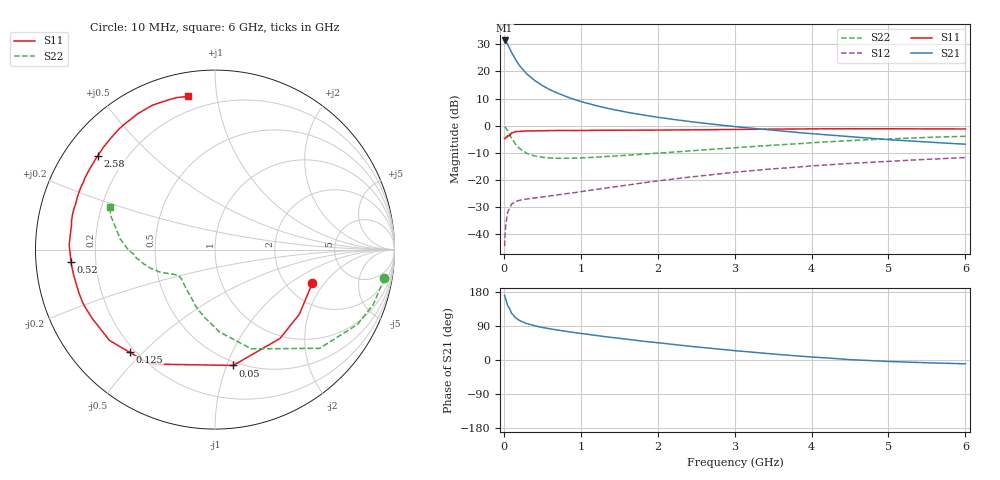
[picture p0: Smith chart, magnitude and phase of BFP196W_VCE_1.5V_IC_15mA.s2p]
! Infineon Technologies  Discrete & RF Semiconductors
! BFP196W
! VCE = 1.5 V,  IC =  15mA
! Common Emitter S-Parameters:  Jan 2016
# GHz  S  MA  R  50
!  f  S11  S21  S12  S22
! GHz  MAG  ANG  MAG  ANG  MAG  ANG  MAG  ANG
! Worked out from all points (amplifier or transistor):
!   210 points, 10 MHz to 6 GHz, reference 50 ohm
!   highest |S21| = 31.5 dB at 10 MHz (marker M1)
!   |S21| within 3 dB of that: start of sweep to 76.3 MHz
!   unconditionally stable (mu >= 1): 949.6 MHz to 3.346 GHz
!   at 185 MHz: K = 0.28, MSG = 25.4 dB, |S12| = -27.8 dB
!   at 1.52 GHz: K = 1.15, MAG = 11.5 dB, |S12| = -22.3 dB
!   at 6 GHz: K = 0.97, MSG = 2.5 dB, |S12| = -11.8 dB
!   S11 on the Smith chart (normalised r, x): 10 MHz: 2.76, -1.53; 50 MHz: 0.47, -1.05; 125 MHz: 0.18, -0.46; 520 MHz: 0.11, -0.04; 2.58 GHz: 0.10, +0.35; 6 GHz: 0.12, +0.83
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0.01  0.5741 -18.9  37.44 170.5  0.0059 80.1  0.957 -9.6
0.02  0.592 -37.5  37.19 163.9  0.012 76.4  0.9338 -19.0
0.03  0.6135 -53.8  35.73 156.7  0.0167 69.5  0.8967 -27.7
0.05  0.6534 -81.1  31.79 143.6  0.0251 57.0  0.8011 -43.4
0.1  0.734 -119.7  22.54 123.2  0.0351 40.0  0.588 -70.0
0.125  0.7439 -129.7  19.53 118.2  0.0372 36.1  0.5175 -77.4
0.15  0.7755 -139.2  16.72 111.5  0.0395 32.6  0.4584 -87.0
0.2  0.7834 -150.2  13.01 104.6  0.0414 29.1  0.3814 -98.8
0.24  0.7911 -155.8  11.14 100.8  0.0427 27.8  0.3473 -105.7
0.3  0.7956 -162.3  8.94 96.0  0.044 27.4  0.3052 -114.5
0.4  0.7999 -169.5  6.81 90.3  0.0459 28.0  0.2751 -124.5
0.52  0.8051 -175.2  5.313 85.2  0.0483 30.2  0.2577 -132.3
0.6  0.8068 -178.4  4.587 82.1  0.05 31.8  0.2518 -136.2
0.7  0.813 178.2  3.972 78.9  0.0524 34.0  0.2476 -139.4
1.02  0.8112 170.3  2.734 69.7  0.0604 40.0  0.2533 -145.8
1.4  0.8168 162.4  2.007 59.5  0.0727 44.9  0.2709 -149.6
2.02  0.8275 151.0  1.411 45.1  0.0956 49.0  0.3102 -155.1
2.58  0.8363 141.3  1.115 32.9  0.1187 49.0  0.3539 -161.3
3.1  0.8502 132.8  0.927 22.9  0.1414 47.0  0.3982 -167.7
4.1  0.8712 118.5  0.692 6.7  0.1835 41.1  0.4906 179.0
5.1  0.8735 107.5  0.538 -4.5  0.2222 33.7  0.5746 166.5
6  0.8665 100.0  0.453 -10.0  0.2562 27.2  0.6328 158.1
